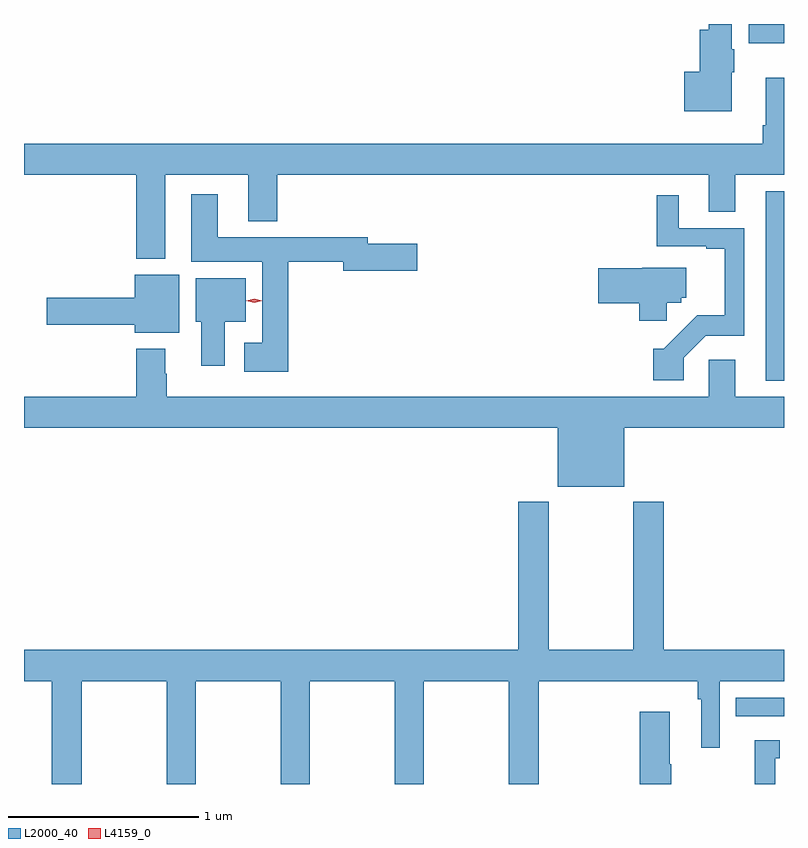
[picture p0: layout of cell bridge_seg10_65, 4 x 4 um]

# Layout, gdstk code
import gdstk
lib = gdstk.Library(unit=1e-6, precision=1e-09)
def R(c, l, rs):  # rectangles x0, y0, x1, y1
    for r in rs: c.add(gdstk.rectangle(r[:2], r[2:], *l))
def P(c, l, *ps):  # polygons
    for p in ps: c.add(gdstk.Polygon(p, *l))
L2000_40 = (2000, 40)
L4159_0 = (4159, 0)

bridge_seg10_65 = lib.new_cell('bridge_seg10_65')
R(bridge_seg10_65, L2000_40, [(811.876,1284.147,812.129,1284.243), (812.033,1285.913,812.129,1286.911), (811.943,1287.689,812.129,1287.79)])
P(bridge_seg10_65, L2000_40, [(811.855,1287.536),(811.868,1287.536),(811.868,1287.656),(811.855,1287.656),(811.855,1287.79),(811.734,1287.79),(811.734,1287.76),(811.685,1287.76),(811.685,1287.538),(811.604,1287.538),(811.604,1287.332),(811.855,1287.332)],
  [(808.873,1286.996),(809.309,1286.996),(809.309,1286.753),(809.462,1286.753),(809.462,1286.996),(811.733,1286.996),(811.733,1286.802),(811.873,1286.802),(811.873,1286.996),(812.129,1286.996),(812.129,1287.508),(812.033,1287.508),(812.033,1287.256),(812.016,1287.256),(812.016,1287.16),(808.129,1287.16),(808.129,1286.996),(808.721,1286.996),(808.721,1286.555),(808.873,1286.555)],
  [(809.519,1286.539),(809.81,1286.539),(809.81,1286.492),(810.199,1286.492),(810.199,1286.634),(809.938,1286.634),(809.938,1286.668),(809.149,1286.668),(809.149,1286.893),(809.009,1286.893),(809.009,1286.54),(809.384,1286.54),(809.384,1286.113),(809.289,1286.113),(809.289,1285.961),(809.519,1285.961)],
  [(811.602,1286.034),(811.716,1286.148),(811.921,1286.148),(811.921,1286.715),(811.576,1286.715),(811.576,1286.89),(811.459,1286.89),(811.459,1286.619),(811.721,1286.619),(811.721,1286.607),(811.817,1286.607),(811.817,1286.258),(811.673,1286.258),(811.495,1286.08),(811.442,1286.08),(811.442,1285.914),(811.602,1285.914)],
  [(811.512,1286.322),(811.587,1286.322),(811.587,1286.349),(811.615,1286.349),(811.615,1286.506),(811.383,1286.506),(811.383,1286.504),(811.152,1286.504),(811.152,1286.321),(811.367,1286.321),(811.367,1286.228),(811.512,1286.228)],
  [(808.945,1286.47),(808.712,1286.47),(808.712,1286.348),(808.248,1286.348),(808.248,1286.206),(808.712,1286.206),(808.712,1286.165),(808.945,1286.165)],
  [(809.185,1286.222),(809.296,1286.222),(809.296,1286.452),(809.033,1286.452),(809.033,1286.222),(809.063,1286.222),(809.063,1285.992),(809.185,1285.992)],
  [(811.288,1285.664),(812.129,1285.664),(812.129,1285.828),(811.873,1285.828),(811.873,1286.023),(811.734,1286.023),(811.734,1285.828),(808.881,1285.828),(808.881,1285.949),(808.873,1285.949),(808.873,1286.08),(808.721,1286.08),(808.721,1285.828),(808.129,1285.828),(808.129,1285.664),(810.938,1285.664),(810.938,1285.355),(811.288,1285.355)],
  [(808.434,1284.332),(808.879,1284.332),(808.879,1283.79),(809.034,1283.79),(809.034,1284.332),(809.479,1284.332),(809.479,1283.79),(809.634,1283.79),(809.634,1284.332),(810.079,1284.332),(810.079,1283.79),(810.234,1283.79),(810.234,1284.332),(810.679,1284.332),(810.679,1283.79),(810.839,1283.79),(810.839,1284.332),(811.675,1284.332),(811.675,1284.236),(811.694,1284.236),(811.694,1283.982),(811.791,1283.982),(811.791,1284.332),(812.129,1284.332),(812.129,1284.496),(811.496,1284.496),(811.496,1285.276),(811.336,1285.276),(811.336,1284.496),(810.891,1284.496),(810.891,1285.276),(810.731,1285.276),(810.731,1284.496),(808.129,1284.496),(808.129,1284.332),(808.274,1284.332),(808.274,1283.79),(808.434,1283.79)],
  [(811.536,1283.894),(811.528,1283.894),(811.528,1284.169),(811.37,1284.169),(811.37,1283.79),(811.536,1283.79)],
  [(812.082,1283.925),(812.107,1283.925),(812.107,1284.019),(811.974,1284.019),(811.974,1283.79),(812.082,1283.79)])
P(bridge_seg10_65, L4159_0, [(809.341,1286.324),(809.3,1286.333),(809.3,1286.334),(809.3,1286.334),(809.341,1286.344),(809.382,1286.334),(809.382,1286.334),(809.382,1286.334)])

lib.write_gds('bridge_seg10_65.gds')
